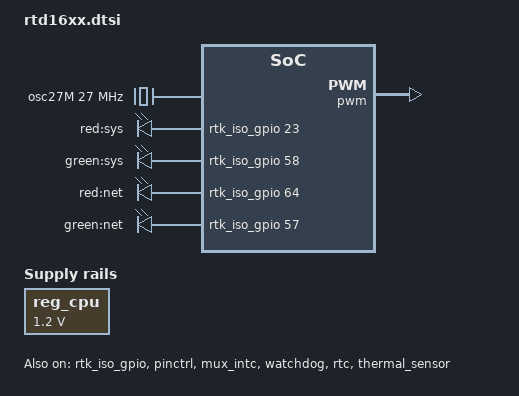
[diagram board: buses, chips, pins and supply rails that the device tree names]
// SPDX-License-Identifier: (GPL-2.0-or-later OR BSD-2-Clause)
/*
 * Realtek RTD16xx SoC family
 *
 * Copyright (c) 2019 Realtek Semiconductor Corp.
 * Copyright (c) 2019 Andreas Färber
 */

#include <dt-bindings/interrupt-controller/arm-gic.h>
#include <dt-bindings/interrupt-controller/irq.h>
#include <dt-bindings/clock/rtk,clock-rtd16xx.h>
#include <dt-bindings/reset/rtk,reset-rtd16xx.h>
#include <dt-bindings/power/rtk,power-rtd16xx.h>
#include <dt-bindings/gpio/gpio.h>

/ {
	interrupt-parent = <&gic>;
	#address-cells = <1>;
	#size-cells = <1>;

	crt_mmio: mmio@98000000 {
		compatible = "realtek,mmio", "syscon";
		reg = <0x98000000 0x1000>;
	};


	cc: clocks@98000000 {
		compatible = "realtek,clock-controller";
		#clock-cells = <1>;
		reg = <0x98000000 0x1000>;
		clocks = <&osc27M>;
		realtek,mmio = <&crt_mmio 0x0>;
	};

	rst1: soft-reset@98000000 {
		compatible = "realtek,reset-controller";
		reg = <0x98000000 0x4>;
		#reset-cells = <1>;
		has-write-en;
	};

	rst2: soft-reset@98000004 {
		compatible = "realtek,reset-controller";
		reg = <0x98000004 0x4>;
		#reset-cells = <1>;
		has-write-en;
	};

	rst3: soft-reset@98000008 {
		compatible = "realtek,reset-controller";
		reg = <0x98000008 0x4>;
		#reset-cells = <1>;
		has-write-en;
		pm-ignore-bits = <0x50000000>;
	};

	rst4: soft-reset@9800000c {
		compatible = "realtek,reset-controller";
		reg = <0x9800000c 0x4>;
		#reset-cells = <1>;
		has-write-en;
	};

	rst6: soft-reset@98000014 {
		compatible = "realtek,reset-controller";
		reg = <0x98000014 0x4>;
		#reset-cells = <1>;
		has-write-en;
		realtek,mmio = <&crt_mmio 0x14>;
	};

	rst7: soft-reset@98000068 {
		compatible = "realtek,reset-controller";
		reg = <0x98000068 0x4>;
		#reset-cells = <1>;
		has-write-en;
	};

	reserved-memory {
		#address-cells = <1>;
		#size-cells = <1>;
		ranges;

		smp_spin_table: spin-table@f000000 {
			reg = <0x0f000000 0x1000>;
			no-map;
		};

		uboot_load: uboot@5000000 {
			reg = <0x05000000 0x01000000>;
			no-map;
		};

		uboot_reloc: uboot@7e000000 {
			reg = <0x7e000000 0x02000000>;
		};


		rpc_comm: rpc@2f000 {
			reg = <0x2f000 0x1000>;
		};

		rpc_ringbuf: rpc@1ffe000 {
			reg = <0x1ffe000 0x4000>;
		};

		/*
		 * TZC-400 firmware-protected region.
		 * BL31/OPTEE protects 0x0f900000-0x13bff000 at hardware level.
		 * Writes are silently dropped, reads return 0x00.
		 * Extend from 0x0f001000 (after spin-table) to 0x13ffffff
		 * to cover the full protected zone with safety margin.
		 * Confirmed by memcheck physical page scan.
		 */
		tee: tee@f001000 {
			reg = <0x0f001000 0x04fff000>; /* ~80MB: 0x0f001000-0x13ffffff */
			no-map;
		};
	};

	reg_cpu: regulator-cpu {
		compatible = "regulator-fixed";
		regulator-name = "cpu_power";
		regulator-min-microvolt = <1200000>;
		regulator-max-microvolt = <1200000>;
		regulator-always-on;
		regulator-boot-on;
	};

	cpus {
		#address-cells = <1>;
		#size-cells = <0>;

		cpu0: cpu@0 {
			device_type = "cpu";
			compatible = "arm,cortex-a55";
			reg = <0x0>;
			enable-method = "psci";
			next-level-cache = <&l2>;
			cpu-supply = <&reg_cpu>;
		};

		cpu1: cpu@100 {
			device_type = "cpu";
			compatible = "arm,cortex-a55";
			reg = <0x100>;
			enable-method = "spin-table";
			cpu-release-addr = <0x00 0x0f000008>;
			next-level-cache = <&l3>;
			cpu-supply = <&reg_cpu>;
		};

		cpu2: cpu@200 {
			device_type = "cpu";
			compatible = "arm,cortex-a55";
			reg = <0x200>;
			enable-method = "spin-table";
			cpu-release-addr = <0x00 0x0f000010>;
			next-level-cache = <&l3>;
			cpu-supply = <&reg_cpu>;
		};

		cpu3: cpu@300 {
			device_type = "cpu";
			compatible = "arm,cortex-a55";
			reg = <0x300>;
			enable-method = "spin-table";
			cpu-release-addr = <0x00 0x0f000018>;
			next-level-cache = <&l3>;
			cpu-supply = <&reg_cpu>;
		};

		cpu4: cpu@400 {
			device_type = "cpu";
			compatible = "arm,cortex-a55";
			reg = <0x400>;
			enable-method = "spin-table";
			cpu-release-addr = <0x00 0x0f000020>;
			next-level-cache = <&l3>;
			cpu-supply = <&reg_cpu>;
		};

		cpu5: cpu@500 {
			device_type = "cpu";
			compatible = "arm,cortex-a55";
			reg = <0x500>;
			enable-method = "spin-table";
			cpu-release-addr = <0x00 0x0f000028>;
			next-level-cache = <&l3>;
			cpu-supply = <&reg_cpu>;
		};

		l2: l2-cache {
			compatible = "cache";
			next-level-cache = <&l3>;
			cache-level = <2>;
			cache-unified;

		};

		l3: l3-cache {
			compatible = "cache";
			cache-level = <3>;
			cache-unified;
		};
	};

	timer {
		compatible = "arm,armv8-timer";
		interrupts = <GIC_PPI 13 IRQ_TYPE_LEVEL_LOW>,
			     <GIC_PPI 14 IRQ_TYPE_LEVEL_LOW>,
			     <GIC_PPI 11 IRQ_TYPE_LEVEL_LOW>,
			     <GIC_PPI 10 IRQ_TYPE_LEVEL_LOW>;
	};

	arm_pmu: pmu {
		compatible = "arm,cortex-a55-pmu";
		interrupts = <GIC_PPI 7 IRQ_TYPE_LEVEL_LOW>;
		interrupt-affinity = <&cpu0>, <&cpu1>, <&cpu2>,
			<&cpu3>, <&cpu4>, <&cpu5>;
	};

	psci {
		compatible = "arm,psci-1.0";
		method = "smc";
	};

	osc27M: osc {
		compatible = "fixed-clock";
		clock-frequency = <27000000>;
		clock-output-names = "osc27M";
		#clock-cells = <0>;
	};

	soc@0 {
		compatible = "simple-bus";
		#address-cells = <1>;
		#size-cells = <1>;
		ranges = <0x00000000 0x00000000 0x0002e000>, /* boot ROM */
			 <0x98000000 0x98000000 0x68000000>;
		leds {
			compatible = "gpio-leds";

			led_sys_red {
				label = "red:sys";
				gpios = <&rtk_iso_gpio 23 0>;
				default-state = "off";
			};

			led_sys_green {
				label = "green:sys";
				gpios = <&rtk_iso_gpio 58 0>;
				default-state = "off";
			};

			led_net_red {
				label = "red:net";
				gpios = <&rtk_iso_gpio 64 0>;
				default-state = "off";
			};

			led_net_green {
				label = "green:net";
				gpios = <&rtk_iso_gpio 57 0>;
				default-state = "off";
			};
		};

		rbus: bus@98000000 {
			compatible = "simple-bus";
			reg = <0x98000000 0x200000>;
			#address-cells = <1>;
			#size-cells = <1>;
			ranges = <0x0 0x98000000 0x200000>;

			crt: syscon@0 {
				compatible = "syscon", "simple-mfd";
				reg = <0x0 0x1000>;
				reg-io-width = <4>;
				#address-cells = <1>;
				#size-cells = <1>;
				ranges = <0x0 0x0 0x1000>;
			};

			iso: syscon@7000 {
				compatible = "syscon", "simple-mfd";
				reg = <0x7000 0x1000>;
				reg-io-width = <4>;
				#address-cells = <1>;
				#size-cells = <1>;
				ranges = <0x0 0x7000 0x1000>;

				rtk_iso_gpio: gpio@100 {
					compatible = "realtek,rtd1619-iso-gpio";
					gpio-controller;
					#gpio-cells = <2>;
					reg = <0x100 0x100>, 
						<0x0 0x100>;					
					interrupt-controller;
					interrupt-parent = <&mux_intc>;
					#interrupt-cells = <2>;
					interrupts = <51 4>, <52 4>;
					
					status = "okay";
				};
			};

			sb2: syscon@1a000 {
				compatible = "syscon", "simple-mfd";
				reg = <0x1a000 0x1000>;
				reg-io-width = <4>;
				#address-cells = <1>;
				#size-cells = <1>;
				ranges = <0x0 0x1a000 0x1000>;
			};

			pinctrl: pinctrl@4e000 {
				compatible = "realtek,rtk16xx-pinctrl";
				reg = <0x4e000 0x100>,
					<0x4f000 0x100>;
				#gpio-range-cells = <3>;
				status = "okay";

			};

			mux_intc: intc@1b000 {
				compatible = "Realtek,rtk-irq-mux";
				Realtek,mux-nr = <2>;
				#interrupt-cells = <2>;
				interrupt-controller;
				reg = <0x1b000 0x100>, /* MISC_TOP MISC_ISO */
					<0x7000 0x100>;
				interrupts = <0 40 4>, <0 41 4>;
				intr-status = <0xc>, <0x0>;
				intr-en = <0x80>, <0x40>;
				status = "okay";
			};

			misc: syscon@1b000 {
				compatible = "syscon", "simple-mfd";
				reg = <0x1b000 0x1000>;
				reg-io-width = <4>;
				#address-cells = <1>;
				#size-cells = <1>;
				ranges = <0x0 0x1b000 0x1000>;

				watchdog: watchdog@5b0 {
					compatible = "realtek,rtd1295-watchdog";
					reg = <0x5b0 0x20>;
					clocks = <&osc27M>;
					timeout-sec = <10>;
					status = "okay";
				};

				rtc: rtc@600 {
					compatible = "realtek,rtd1295-rtc";
					reg = <0x600 0x34>;
					clocks = <&osc27M>;
					status = "okay";
				};
			};

			scpu_wrapper: syscon@1d000 {
				compatible = "syscon", "simple-mfd";
				reg = <0x1d000 0x1000>;
				reg-io-width = <4>;
				#address-cells = <1>;
				#size-cells = <1>;
				ranges = <0x0 0x1d000 0x1000>;
			};

			pwm: pwm@70d0 {
				compatible = "realtek,rtd1295-pwm";
				#pwm-cells = <2>;
				reg = <0x70d0 0xc>;
				pinctrl-names = "default";
				/* pinctrl-0 = <&pwm1_1_pins>; */
				pwm_0 {
					enable = <0>;
					clkout_div = <0xff>; //default OCD: from 0x0 to 0xff
					clksrc_div = <0x1>; //default OSD: from 0x0 to 0xf
					duty_rate = <5>; //default duty_rate 0 ~ 100
				};
				pwm_1 {
					enable = <1>;
					clkout_div = <0xff>; //default OCD: from 0x0 to 0xff
					clksrc_div = <0x1>; //default OSD: from 0x0 to 0xf
					duty_rate = <50>; //default duty_rate 0 ~ 100
				};
				pwm_2 {
					enable = <0>;
					clkout_div = <0xff>; //default OCD: from 0x0 to 0xff
					clksrc_div = <0x1>; //default OSD: from 0x0 to 0xf
					duty_rate = <50>; //default duty_rate 0 ~ 100
				};
				pwm_3 {
					enable = <0>;
					clkout_div = <0xff>; //default OCD: from 0x0 to 0xff
					clksrc_div = <0x1>; //default OSD: from 0x0 to 0xf
					duty_rate = <50>; //default duty_rate 0 ~ 100
				};
			};
		};

		sd: sdmmc@98010400 {
			compatible = "Realtek,rtk1295-sdmmc";
			reg = <0x98000000 0x400>, /* CRT */
			      <0x98010400 0x200>, /* SDMMC */
			      <0x9801A000 0x400>, /* BS2 */
			      <0x9804f000 0x40>, /* ISO */
			      <0x98010A00 0x40>, /* SDIO */
			      <0x98007000 0x200>;
			interrupts = <GIC_SPI 44 IRQ_TYPE_LEVEL_HIGH>;
			resets = <&rst2 RSTN_SD>;
			clocks = <&osc27M>, <&osc27M>;
			clock-names = "clk_en_cr", "clk_en_sd_ip";
			status = "disabled";
		};

		sdio: sdio@98010a00 {
			compatible = "realtek,rtk1619-sdio";
			reg = <0x98010c00 0x200>,
			      <0x98000000 0x200000>;
			interrupts = <GIC_SPI 45 IRQ_TYPE_LEVEL_HIGH>;
			clocks = <&cc CLK_EN_SDIO>, <&cc CLK_EN_SDIO_IP>;
			clock-names = "clk_en_sdio", "clk_en_sdio_ip";
			resets = <&rst2 RSTN_SDIO>;
			status = "disabled";
		};

		emmc: mmc@98012000 {
			compatible = "Realtek,rtk1295-emmc";
			reg = <0x98012000 0xa00>, /* EMMC */
			      <0x98000000 0x600>, /* CRT */
			      <0x9801A000 0x80>, /* SB2 */
			      <0x9801B000 0x150>, /* MISC */
			      <0x9801a954 0x20>,  /* SB2_DBG */
			      <0x9804f000 0x100>; /* ISO */
			interrupts = <GIC_SPI 42 IRQ_TYPE_LEVEL_HIGH>;
			clocks = <&osc27M>, <&osc27M>;
			clock-names = "emmc", "emmc_ip";
			fifo-depth = <256>;
			#address-cells = <1>;
			#size-cells = <0>;
			status = "disabled";
		};

		i2c_0: i2c@98007d00 {
			compatible = "realtek,rtk-i2c";
			reg = <0x98007d00 0x100>;
			interrupt-parent = <&mux_intc>;
			interrupts = <40 4>;
			#address-cells = <1>;
			#size-cells = <0>;
			clocks = <&cc CLK_EN_I2C0>;
			pinctrl-names = "default";
			pinctrl-0 = <&i2c_pins_0>;
			status = "disabled";
		};


		gic: interrupt-controller@ff100000 {
			compatible = "arm,gic-v3";
			reg = <0xff100000 0x10000>,
			      <0xff140000 0xc0000>;
			interrupts = <GIC_PPI 9 IRQ_TYPE_LEVEL_HIGH>;
			interrupt-controller;
			#interrupt-cells = <3>;
		};
	};
};

&iso {
	uart0: serial@800 {
		compatible = "snps,dw-apb-uart";
		reg = <0x800 0x400>;
		reg-shift = <2>;
		reg-io-width = <4>;
		interrupts = <GIC_SPI 68 IRQ_TYPE_LEVEL_HIGH>;
		clock-frequency = <27000000>;
		status = "disabled";
	};
};

&misc {
	uart1: serial@200 {
		compatible = "snps,dw-apb-uart";
		reg = <0x200 0x400>;
		reg-shift = <2>;
		reg-io-width = <4>;
		interrupts = <GIC_SPI 89 IRQ_TYPE_LEVEL_HIGH>;
		clock-frequency = <432000000>;
		status = "disabled";
	};

	uart2: serial@400 {
		compatible = "snps,dw-apb-uart";
		reg = <0x400 0x400>;
		reg-shift = <2>;
		reg-io-width = <4>;
		interrupts = <GIC_SPI 90 IRQ_TYPE_LEVEL_HIGH>;
		clock-frequency = <432000000>;
		status = "disabled";
	};
};

/ {
	thermal_sensor: thermal-sensor@9801db00 {
		compatible = "realtek,rtd16xx-thermal-sensor";
		reg = <0x9801db00 0x50>;
		#thermal-sensor-cells = <0x00>;
		status = "okay";
	};

	thermal-zones {
		cpu_thermal: cpu-thermal {
			polling-delay-passive = <250>;
			polling-delay = <1000>;
			thermal-sensors = <&thermal_sensor>;
			
			trips {
				cpu_crit: cpu-crit {
					temperature = <130000>;
					hysteresis = <0>;
					type = "critical";
				};
				cpu_alert0: cpu-alert0 {
					temperature = <90000>;
					hysteresis = <0>;
					type = "passive";
				};
			};
		};
		cpu1_thermal: cpu1-thermal {
			polling-delay-passive = <250>;
			polling-delay = <1000>;
			thermal-sensors = <&thermal_sensor>;
		};
		cpu2_thermal: cpu2-thermal {
			polling-delay-passive = <250>;
			polling-delay = <1000>;
			thermal-sensors = <&thermal_sensor>;
		};
		cpu3_thermal: cpu3-thermal {
			polling-delay-passive = <250>;
			polling-delay = <1000>;
			thermal-sensors = <&thermal_sensor>;
		};
		cpu4_thermal: cpu4-thermal {
			polling-delay-passive = <250>;
			polling-delay = <1000>;
			thermal-sensors = <&thermal_sensor>;
		};
		cpu5_thermal: cpu5-thermal {
			polling-delay-passive = <250>;
			polling-delay = <1000>;
			thermal-sensors = <&thermal_sensor>;
		};
	};
};

#include "rtd-16xx-pinctrl.dtsi"
#include "rtd-16xx-hdmirxEDID.dtsi"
